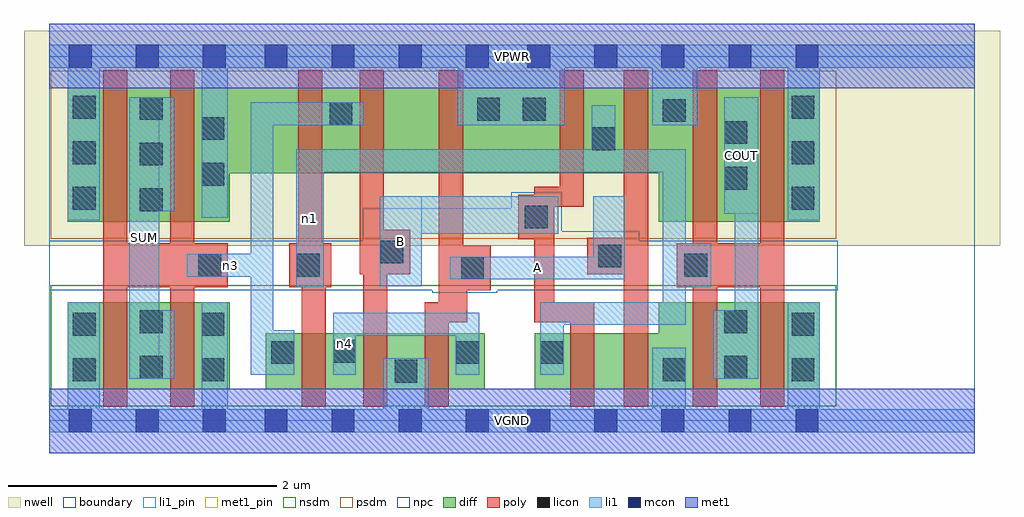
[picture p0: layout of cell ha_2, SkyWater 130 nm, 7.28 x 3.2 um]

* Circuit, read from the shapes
.subckt ha_2 A B COUT SUM VGND VPWR n1 n3 n4
XM1 SUM n3 VGND VSUBS sky130_fd_pr__nfet_01v8 w=0.65 l=0.18 m=2
XM2 n4 n1 n3 VSUBS sky130_fd_pr__nfet_01v8 w=0.42 l=0.18
XM3 VGND B n4 VSUBS sky130_fd_pr__nfet_01v8 w=0.42 l=0.18
XM4 n4 A VGND VSUBS sky130_fd_pr__nfet_01v8 w=0.42 l=0.18
XM5 n2 B n1 VSUBS sky130_fd_pr__nfet_01v8 w=0.42 l=0.18
XM6 VGND A n2 VSUBS sky130_fd_pr__nfet_01v8 w=0.42 l=0.18
XM7 COUT n1 VGND VSUBS sky130_fd_pr__nfet_01v8 w=0.65 l=0.18 m=2
XM8 SUM n3 VPWR n5 sky130_fd_pr__pfet_01v8 w=1 l=0.18 m=2
XM9 n3 n1 VPWR n5 sky130_fd_pr__pfet_01v8 w=0.64 l=0.18
XM10 n6 B n3 n5 sky130_fd_pr__pfet_01v8 w=0.64 l=0.18
XM11 VPWR A n6 n5 sky130_fd_pr__pfet_01v8 w=0.64 l=0.18
XM12 n1 B VPWR n5 sky130_fd_pr__pfet_01v8 w=0.64 l=0.18
XM13 VPWR A n1 n5 sky130_fd_pr__pfet_01v8 w=0.64 l=0.18
XM14 COUT n1 VPWR n5 sky130_fd_pr__pfet_01v8 w=1 l=0.18 m=2
.ends

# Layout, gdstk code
import gdstk
lib = gdstk.Library(unit=1e-6, precision=1e-09)
def R(c, l, rs):  # rectangles x0, y0, x1, y1
    for r in rs: c.add(gdstk.rectangle(r[:2], r[2:], *l))
def A(c, l, x, y, w, h, nx, ny, dx, dy):  # array of equal rectangles
    R(c, l, [(x+i*dx, y+j*dy, x+i*dx+w, y+j*dy+h) for i in range(nx) for j in range(ny)])
nwell = (64, 20)
diff = (65, 20)
poly = (66, 20)
licon = (66, 44)
li1_pin = (67, 16)
li1 = (67, 20)
mcon = (67, 44)
met1_pin = (68, 16)
met1 = (68, 20)
nsdm = (93, 44)
psdm = (94, 20)
npc = (95, 20)
boundary = (235, 4)

ha_2 = lib.new_cell('ha_2')
R(ha_2, nwell, [(-0.19,1.305,7.09,2.91), (0,1.305,6.9,2.91)])
R(ha_2, diff, [(0.135,0.235,1.345,0.885), (1.615,0.235,3.245,0.655), (3.62,0.235,5.745,0.655), (4.545,0.235,5.745,0.885), (0.135,1.485,1.345,2.485), (4.545,1.485,5.745,2.485), (0.135,1.845,5.745,2.485)])
R(ha_2, poly, [(0.4,0.105,0.58,2.615), (0.9,0.105,1.08,2.615), (1.88,0.105,2.06,1.325), (2.34,0.105,2.52,1.425), (2.8,0.105,2.98,0.885), (3.885,0.105,4.065,0.885), (4.285,0.105,4.465,2.615), (4.8,0.105,4.98,2.615), (5.3,0.105,5.48,2.615), (2.905,0.735,3.085,2.615), (2.905,0.735,3.115,1.305), (3.615,0.735,3.765,1.745), (3.615,0.735,4.065,0.885), (2.905,0.975,3.29,1.305), (0.4,0.995,1.33,1.325), (1.79,0.995,2.1,1.325), (1.855,0.995,2.035,2.615), (4.68,0.995,5.48,1.325), (2.315,1.095,2.495,2.615), (2.315,1.095,2.69,1.425), (4.01,1.095,4.465,1.365), (3.495,1.355,3.765,1.685), (3.615,1.595,3.985,1.745), (3.805,1.595,3.985,2.615)])
A(ha_2, licon, 0.675, 1.565, 0.17, 0.17, 1, 3, 0, 0.34)
A(ha_2, licon, 0.175, 1.575, 0.17, 0.17, 1, 3, 0, 0.34)
A(ha_2, licon, 5.535, 1.575, 0.17, 0.17, 1, 3, 0, 0.34)
R(ha_2, licon, [(2.575,0.285,2.745,0.455), (0.175,0.295,0.345,0.465), (1.135,0.295,1.305,0.465), (4.575,0.295,4.745,0.465), (5.535,0.295,5.705,0.465), (0.675,0.315,0.845,0.485), (5.035,0.315,5.205,0.485), (1.655,0.425,1.825,0.595), (3.035,0.425,3.205,0.595), (3.66,0.425,3.83,0.595), (2.115,0.435,2.285,0.605), (0.175,0.635,0.345,0.805), (1.135,0.635,1.305,0.805), (5.535,0.635,5.705,0.805), (0.675,0.655,0.845,0.825), (5.035,0.655,5.205,0.825), (3.07,1.055,3.24,1.225), (1.11,1.075,1.28,1.245), (1.845,1.075,2.015,1.245), (4.735,1.075,4.905,1.245), (4.095,1.145,4.265,1.315), (2.47,1.175,2.64,1.345), (3.545,1.435,3.715,1.605), (5.035,1.725,5.205,1.895), (1.135,1.755,1.305,1.925), (4.05,2.02,4.22,2.19), (5.035,2.065,5.205,2.235), (1.135,2.095,1.305,2.265), (2.09,2.205,2.26,2.375), (4.575,2.23,4.745,2.4), (3.19,2.24,3.36,2.41), (3.53,2.24,3.7,2.41)])
R(ha_2, li1_pin, [(0.595,0.315,0.82,2.415), (2.465,1.005,2.775,1.675), (2.985,1.055,4.29,1.225), (5.035,1.545,5.285,2.415)])
R(ha_2, li1, [(0,-0.085,6.9,0.085), (0.135,-0.085,0.375,0.885), (1.135,-0.085,1.33,0.885), (2.49,-0.085,2.83,0.465), (4.495,-0.085,4.745,0.545), (5.505,-0.085,5.745,0.885), (0.595,0.315,0.82,2.415), (0.595,0.315,0.93,0.825), (4.95,0.315,5.285,0.825), (5.11,0.315,5.285,2.415), (1.5,0.345,1.67,2.375), (1.5,0.345,1.825,0.675), (2.115,0.345,2.285,0.805), (3.03,0.345,3.205,0.805), (3.66,0.345,3.835,0.885), (2.115,0.635,3.205,0.805), (3.66,0.715,4.745,0.885), (4.575,0.715,4.745,2.025), (1.84,0.995,2.045,2.025), (4.575,0.995,4.935,1.325), (2.465,1.005,2.775,1.675), (2.985,1.055,4.29,1.225), (4.055,1.055,4.29,1.675), (1.025,1.075,1.67,1.245), (2.465,1.395,3.795,1.675), (0.135,1.495,0.375,2.805), (5.505,1.495,5.745,2.805), (1.135,1.515,1.33,2.805), (5.035,1.545,5.285,2.415), (0.595,1.565,0.93,2.415), (1.84,1.855,4.745,2.025), (4.045,1.855,4.22,2.355), (1.5,2.205,2.345,2.375), (3.045,2.205,3.845,2.805), (4.495,2.205,4.83,2.805), (0,2.635,6.9,2.805)])
A(ha_2, mcon, 0.145, -0.085, 0.17, 0.17, 3, 2, 0.5, 2.72)
A(ha_2, mcon, 1.605, -0.085, 0.17, 0.17, 4, 2, 0.5, 2.72)
A(ha_2, mcon, 3.565, -0.085, 0.17, 0.17, 5, 2, 0.5, 2.72)
R(ha_2, met1_pin, [(0,-0.24,6.9,0.24), (0,2.48,6.9,2.96)])
R(ha_2, met1, [(0,-0.24,6.9,0.24), (0,2.48,6.9,2.96)])
R(ha_2, nsdm, [(0.01,0.11,5.87,1.01)])
R(ha_2, psdm, [(0.01,1.36,5.87,2.61)])
R(ha_2, npc, [(2.855,0.955,3.34,1.585), (0,0.975,5.88,1.345), (3.445,0.975,3.82,1.705), (3.445,0.975,4.4,1.415), (2.335,1.345,3.82,1.585)])
R(ha_2, boundary, [(0,0,6.9,2.72)])
ha_2.add(gdstk.Label('A', (3.637,1.14), layer=67, texttype=5))
ha_2.add(gdstk.Label('B', (2.62,1.34), layer=67, texttype=5))
ha_2.add(gdstk.Label('COUT', (5.16,1.98), layer=67, texttype=5))
ha_2.add(gdstk.Label('SUM', (0.707,1.365), layer=67, texttype=5))
ha_2.add(gdstk.Label('n4', (2.2,0.575), layer=67, texttype=5))
ha_2.add(gdstk.Label('n1', (1.942,1.51), layer=67, texttype=5))
ha_2.add(gdstk.Label('n3', (1.347,1.16), layer=67, texttype=5))
ha_2.add(gdstk.Label('VPWR', (3.45,2.72), layer=68, texttype=5))
ha_2.add(gdstk.Label('VGND', (3.45,0), layer=68, texttype=5))
ha_2.add(gdstk.Label('A', (3.637,1.14), layer=67, texttype=16))
ha_2.add(gdstk.Label('B', (2.62,1.34), layer=67, texttype=16))
ha_2.add(gdstk.Label('COUT', (5.16,1.98), layer=67, texttype=16))
ha_2.add(gdstk.Label('SUM', (0.707,1.365), layer=67, texttype=16))
ha_2.add(gdstk.Label('VPWR', (3.45,2.72), layer=68, texttype=16))
ha_2.add(gdstk.Label('VGND', (3.45,0), layer=68, texttype=16))

lib.write_gds('ha_2.gds')
